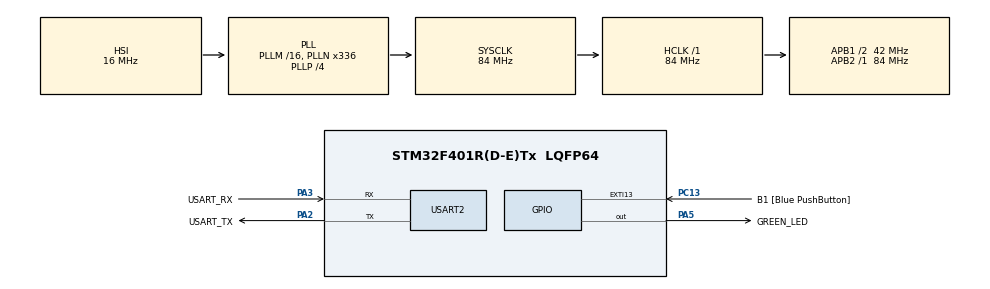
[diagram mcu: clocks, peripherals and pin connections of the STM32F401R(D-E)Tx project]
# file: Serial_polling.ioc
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Mcu.Family=STM32F4
Mcu.Name=STM32F401R(D-E)Tx
Mcu.Package=LQFP64
NVIC.PriorityGroup=NVIC_PRIORITYGROUP_4
PA13.GPIO_Label=TMS
PA13.Mode=Trace_Asynchronous_SW
PA13.Signal=SYS_JTMS-SWDIO
PA14.GPIO_Label=TCK
PA14.Mode=Trace_Asynchronous_SW
PA14.Signal=SYS_JTCK-SWCLK
PA2.GPIO_Label=USART_TX
PA2.GPIO_Mode=GPIO_MODE_AF_PP
PA2.GPIO_PuPd=GPIO_NOPULL
PA2.GPIO_Speed=GPIO_SPEED_FREQ_LOW
PA2.Mode=Asynchronous
PA2.Signal=USART2_TX
PA3.GPIO_Label=USART_RX
PA3.GPIO_Mode=GPIO_MODE_AF_PP
PA3.GPIO_PuPd=GPIO_NOPULL
PA3.GPIO_Speed=GPIO_SPEED_FREQ_LOW
PA3.Mode=Asynchronous
PA3.Signal=USART2_RX
PA5.GPIO_Label=GREEN_LED
PA5.GPIO_Mode=GPIO_MODE_OUTPUT_PP
PA5.GPIO_PuPd=GPIO_NOPULL
PA5.GPIO_Speed=GPIO_SPEED_FREQ_LOW
PA5.Signal=GPIO_Output
PB3.GPIO_Label=SWO
PB3.Mode=Trace_Asynchronous_SW
PB3.Signal=SYS_JTDO-SWO
PC13-ANTI_TAMP.GPIO_Label=B1 [Blue PushButton]
PC13-ANTI_TAMP.GPIO_ModeDefaultEXTI=GPIO_MODE_IT_FALLING
PC13-ANTI_TAMP.GPIO_PuPd=GPIO_NOPULL
PC13-ANTI_TAMP.Signal=GPXTI13
PC14-OSC32_IN.Mode=LSE-External-Oscillator
PC14-OSC32_IN.Signal=RCC_OSC32_IN
PC15-OSC32_OUT.Mode=LSE-External-Oscillator
PC15-OSC32_OUT.Signal=RCC_OSC32_OUT
PH0\ -\ OSC_IN.Mode=HSE-External-Clock-Source
PH0\ -\ OSC_IN.Signal=RCC_OSC_IN
PH1\ -\ OSC_OUT.Mode=HSE-External-Clock-Source
PH1\ -\ OSC_OUT.Signal=RCC_OSC_OUT
ProjectManager.HeapSize=0x200
ProjectManager.StackSize=0x400
ProjectManager.TargetToolchain=STM32CubeIDE
RCC.48MHZClocksFreq_Value=48000000
RCC.AHBFreq_Value=84000000
RCC.APB1CLKDivider=RCC_HCLK_DIV2
RCC.APB1Freq_Value=42000000
RCC.APB1TimFreq_Value=84000000
RCC.APB2Freq_Value=84000000
RCC.APB2TimFreq_Value=84000000
RCC.CortexFreq_Value=84000000
RCC.HCLKFreq_Value=84000000
RCC.HSE_VALUE=8000000
RCC.HSI_VALUE=16000000
RCC.PLLN=336
RCC.PLLP=RCC_PLLP_DIV4
RCC.PLLQ=7
RCC.SYSCLKFreq_VALUE=84000000
RCC.SYSCLKSource=RCC_SYSCLKSOURCE_PLLCLK
RCC.VCOOutputFreq_Value=336000000
USART2.VirtualMode=VM_ASYNC
board=NUCLEO-F401RE

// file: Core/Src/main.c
/* USER CODE BEGIN Header */
/**
  ******************************************************************************
  * @file           : main.c
  * @brief          : Main program body
  ******************************************************************************
  * @attention
  *
  * Copyright (c) 2025 STMicroelectronics.
  * All rights reserved.
  *
  * This software is licensed under terms that can be found in the LICENSE file
  * in the root directory of this software component.
  * If no LICENSE file comes with this software, it is provided AS-IS.
  *
  ******************************************************************************
  */
/* USER CODE END Header */
#include "main.h"

/* USER CODE BEGIN Includes */
#include <string.h>
/* USER CODE END Includes */

UART_HandleTypeDef huart2;

void SystemClock_Config(void);
static void MX_GPIO_Init(void);
static void MX_USART2_UART_Init(void);

int main(void)
{

  /* USER CODE BEGIN 1 */
	const char prompt[] = "Send command: ON or OFF\r\n";
	uint8_t rxBuf[4]; // spazio per "ON\0" o "OFF\0"
  /* USER CODE END 1 */

  /* MCU Configuration--------------------------------------------------------*/

  /* Reset of all peripherals, Initializes the Flash interface and the Systick. */
  HAL_Init();

  /* Configure the system clock */
  SystemClock_Config();

  /* Initialize all configured peripherals */
  MX_GPIO_Init();
  MX_USART2_UART_Init();

  /* Infinite loop */
  /* USER CODE BEGIN WHILE */
  while (1)
  {
	  // 1) Send prompt
	  HAL_UART_Transmit(&huart2, (uint8_t*)prompt, strlen(prompt), HAL_MAX_DELAY);

	  // 2) Receive command in polling (3 characters + terminator)
	  //    Here we always wait for 3 bytes; you can adjust to read until '\n'
	  uint8_t rxChar;
	  uint8_t idx = 0;
	  memset(rxBuf, 0, sizeof(rxBuf));

	  do {
	      HAL_UART_Receive(&huart2, &rxChar, 1, HAL_MAX_DELAY);

	      if (rxChar != '\r' && rxChar != '\n' && idx < (sizeof(rxBuf) - 1)) {
	          rxBuf[idx++] = rxChar;
	      }

	  } while (rxChar != '\n');

	  rxBuf[3] = '\0'; // null-terminator

	  // 3) Compare and act on the LED
	  if (strcmp((char*)rxBuf, "ON") == 0)
	  {
		  HAL_GPIO_WritePin(GPIOA, GPIO_PIN_5, GPIO_PIN_SET);   // LED ON
	  }
	  else if (strcmp((char*)rxBuf, "OFF") == 0)
	  {
		  HAL_GPIO_WritePin(GPIOA, GPIO_PIN_5, GPIO_PIN_RESET); // LED OFF
	  }
	  // else: unrecognized command, repeat prompt
	  /* USER CODE END WHILE */

  }
}

void SystemClock_Config(void)
{
  RCC_OscInitTypeDef RCC_OscInitStruct = {0};
  RCC_ClkInitTypeDef RCC_ClkInitStruct = {0};

  /** Configure the main internal regulator output voltage
  */
  __HAL_RCC_PWR_CLK_ENABLE();
  __HAL_PWR_VOLTAGESCALING_CONFIG(PWR_REGULATOR_VOLTAGE_SCALE2);

  /** Initializes the RCC Oscillators according to the specified parameters
  * in the RCC_OscInitTypeDef structure.
  */
  RCC_OscInitStruct.OscillatorType = RCC_OSCILLATORTYPE_HSI;
  RCC_OscInitStruct.HSIState = RCC_HSI_ON;
  RCC_OscInitStruct.HSICalibrationValue = RCC_HSICALIBRATION_DEFAULT;
  RCC_OscInitStruct.PLL.PLLState = RCC_PLL_ON;
  RCC_OscInitStruct.PLL.PLLSource = RCC_PLLSOURCE_HSI;
  RCC_OscInitStruct.PLL.PLLM = 16;
  RCC_OscInitStruct.PLL.PLLN = 336;
  RCC_OscInitStruct.PLL.PLLP = RCC_PLLP_DIV4;
  RCC_OscInitStruct.PLL.PLLQ = 7;
  if (HAL_RCC_OscConfig(&RCC_OscInitStruct) != HAL_OK)
  {
    Error_Handler();
  }

  /** Initializes the CPU, AHB and APB buses clocks
  */
  RCC_ClkInitStruct.ClockType = RCC_CLOCKTYPE_HCLK|RCC_CLOCKTYPE_SYSCLK
                              |RCC_CLOCKTYPE_PCLK1|RCC_CLOCKTYPE_PCLK2;
  RCC_ClkInitStruct.SYSCLKSource = RCC_SYSCLKSOURCE_PLLCLK;
  RCC_ClkInitStruct.AHBCLKDivider = RCC_SYSCLK_DIV1;
  RCC_ClkInitStruct.APB1CLKDivider = RCC_HCLK_DIV2;
  RCC_ClkInitStruct.APB2CLKDivider = RCC_HCLK_DIV1;

  if (HAL_RCC_ClockConfig(&RCC_ClkInitStruct, FLASH_LATENCY_2) != HAL_OK)
  {
    Error_Handler();
  }
}

static void MX_USART2_UART_Init(void)
{

  huart2.Instance = USART2;
  huart2.Init.BaudRate = 115200;
  huart2.Init.WordLength = UART_WORDLENGTH_8B;
  huart2.Init.StopBits = UART_STOPBITS_1;
  huart2.Init.Parity = UART_PARITY_NONE;
  huart2.Init.Mode = UART_MODE_TX_RX;
  huart2.Init.HwFlowCtl = UART_HWCONTROL_NONE;
  huart2.Init.OverSampling = UART_OVERSAMPLING_16;
  if (HAL_UART_Init(&huart2) != HAL_OK)
  {
    Error_Handler();
  }

}

static void MX_GPIO_Init(void)
{
  GPIO_InitTypeDef GPIO_InitStruct = {0};

  /* GPIO Ports Clock Enable */
  __HAL_RCC_GPIOC_CLK_ENABLE();
  __HAL_RCC_GPIOH_CLK_ENABLE();
  __HAL_RCC_GPIOA_CLK_ENABLE();
  __HAL_RCC_GPIOB_CLK_ENABLE();

  /*Configure GPIO pin Output Level */
  HAL_GPIO_WritePin(GREEN_LED_GPIO_Port, GREEN_LED_Pin, GPIO_PIN_RESET);

  /*Configure GPIO pin : B1_Pin */
  GPIO_InitStruct.Pin = B1_Pin;
  GPIO_InitStruct.Mode = GPIO_MODE_IT_FALLING;
  GPIO_InitStruct.Pull = GPIO_NOPULL;
  HAL_GPIO_Init(B1_GPIO_Port, &GPIO_InitStruct);

  /*Configure GPIO pin : GREEN_LED_Pin */
  GPIO_InitStruct.Pin = GREEN_LED_Pin;
  GPIO_InitStruct.Mode = GPIO_MODE_OUTPUT_PP;
  GPIO_InitStruct.Pull = GPIO_NOPULL;
  GPIO_InitStruct.Speed = GPIO_SPEED_FREQ_LOW;
  HAL_GPIO_Init(GREEN_LED_GPIO_Port, &GPIO_InitStruct);

}

void Error_Handler(void)
{
  __disable_irq();
  while (1)
  {
  }
}
